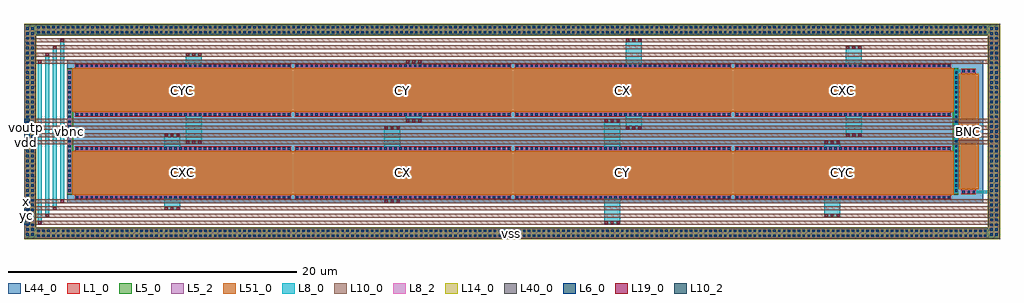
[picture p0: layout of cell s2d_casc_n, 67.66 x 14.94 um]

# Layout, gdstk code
from math import pi, radians
import gdstk
lib = gdstk.Library(unit=1e-6, precision=1e-09)
def R(c, l, rs):  # rectangles x0, y0, x1, y1
    for r in rs: c.add(gdstk.rectangle(r[:2], r[2:], *l))
def A(c, l, x, y, w, h, nx, ny, dx, dy):  # array of equal rectangles
    R(c, l, [(x+i*dx, y+j*dy, x+i*dx+w, y+j*dy+h) for i in range(nx) for j in range(ny)])
L1_0 = (1, 0)
L5_0 = (5, 0)
L5_2 = (5, 2)
L6_0 = (6, 0)
L8_0 = (8, 0)
L8_2 = (8, 2)
L10_0 = (10, 0)
L10_2 = (10, 2)
L14_0 = (14, 0)
L19_0 = (19, 0)
L40_0 = (40, 0)
L44_0 = (44, 0)
L51_0 = (51, 0)

nmoshv_1 = lib.new_cell('nmosHV$1')
R(nmoshv_1, L1_0, [(0,0,0.3,0.3), (0,0,3.68,15), (3.38,0,3.68,0.3)])
R(nmoshv_1, L5_0, [(0.34,-0.18,3.34,15.18)])
R(nmoshv_1, L5_2, [(0.34,-0.18,3.34,15.18)])
A(nmoshv_1, L6_0, 0.07, 0.07, 0.16, 0.16, 1, 3, 0, 0.34)
A(nmoshv_1, L6_0, 3.45, 0.07, 0.16, 0.16, 1, 3, 0, 0.34)
A(nmoshv_1, L6_0, 0.07, 1.095, 0.16, 0.16, 1, 3, 0, 0.34)
A(nmoshv_1, L6_0, 3.45, 1.095, 0.16, 0.16, 1, 3, 0, 0.34)
A(nmoshv_1, L6_0, 0.07, 2.12, 0.16, 0.16, 1, 3, 0, 0.34)
A(nmoshv_1, L6_0, 3.45, 2.12, 0.16, 0.16, 1, 3, 0, 0.34)
A(nmoshv_1, L6_0, 0.07, 3.83, 0.16, 0.16, 1, 3, 0, 0.34)
A(nmoshv_1, L6_0, 3.45, 3.83, 0.16, 0.16, 1, 3, 0, 0.34)
A(nmoshv_1, L6_0, 0.07, 4.855, 0.16, 0.16, 1, 3, 0, 0.34)
A(nmoshv_1, L6_0, 3.45, 4.855, 0.16, 0.16, 1, 3, 0, 0.34)
A(nmoshv_1, L6_0, 0.07, 6.565, 0.16, 0.16, 1, 3, 0, 0.34)
A(nmoshv_1, L6_0, 3.45, 6.565, 0.16, 0.16, 1, 3, 0, 0.34)
A(nmoshv_1, L6_0, 0.07, 7.59, 0.16, 0.16, 1, 3, 0, 0.34)
A(nmoshv_1, L6_0, 3.45, 7.59, 0.16, 0.16, 1, 3, 0, 0.34)
A(nmoshv_1, L6_0, 0.07, 9.3, 0.16, 0.16, 1, 3, 0, 0.34)
A(nmoshv_1, L6_0, 3.45, 9.3, 0.16, 0.16, 1, 3, 0, 0.34)
A(nmoshv_1, L6_0, 0.07, 10.325, 0.16, 0.16, 1, 3, 0, 0.34)
A(nmoshv_1, L6_0, 3.45, 10.325, 0.16, 0.16, 1, 3, 0, 0.34)
A(nmoshv_1, L6_0, 0.07, 12.035, 0.16, 0.16, 1, 3, 0, 0.34)
A(nmoshv_1, L6_0, 3.45, 12.035, 0.16, 0.16, 1, 3, 0, 0.34)
A(nmoshv_1, L6_0, 0.07, 13.06, 0.16, 0.16, 1, 3, 0, 0.34)
A(nmoshv_1, L6_0, 3.45, 13.06, 0.16, 0.16, 1, 3, 0, 0.34)
R(nmoshv_1, L6_0, [(0.07,3.145,0.23,3.305), (3.45,3.145,3.61,3.305), (0.07,3.485,0.23,3.645), (3.45,3.485,3.61,3.645), (0.07,5.88,0.23,6.04), (3.45,5.88,3.61,6.04), (0.07,6.22,0.23,6.38), (3.45,6.22,3.61,6.38), (0.07,8.615,0.23,8.775), (3.45,8.615,3.61,8.775), (0.07,8.955,0.23,9.115), (3.45,8.955,3.61,9.115), (0.07,11.35,0.23,11.51), (3.45,11.35,3.61,11.51), (0.07,11.69,0.23,11.85), (3.45,11.69,3.61,11.85), (0.07,14.085,0.23,14.245), (3.45,14.085,3.61,14.245), (0.07,14.425,0.23,14.585), (3.45,14.425,3.61,14.585), (0.07,14.77,0.23,14.93), (3.45,14.77,3.61,14.93)])
R(nmoshv_1, L8_0, [(0.07,0,0.23,15), (3.45,0,3.61,15)])
R(nmoshv_1, L8_2, [(0.07,0,0.23,15), (3.45,0,3.61,15)])
R(nmoshv_1, L44_0, [(-0.27,-0.52,3.95,15.52)])
R(nmoshv_1, L51_0, [(0.34,-0.18,3.34,15.18)])
nmoshv_1.add(gdstk.Label('nmosHV', (1.84,7.5), layer=63, texttype=0))
nmoshv_1.add(gdstk.Label('nmosHV', (1.84,7.5), layer=51, texttype=0))

nmoshv_2 = lib.new_cell('nmosHV$2')
R(nmoshv_2, L1_0, [(0,0,0.3,0.3), (0,0,8.68,1), (8.38,0,8.68,0.3)])
R(nmoshv_2, L5_0, [(0.34,-0.18,8.34,1.18)])
R(nmoshv_2, L5_2, [(0.34,-0.18,8.34,1.18)])
A(nmoshv_2, L6_0, 0.07, 0.07, 0.16, 0.16, 1, 3, 0, 0.35)
A(nmoshv_2, L6_0, 8.45, 0.07, 0.16, 0.16, 1, 3, 0, 0.35)
R(nmoshv_2, L8_0, [(0.07,0,0.23,1), (8.45,0,8.61,1)])
R(nmoshv_2, L8_2, [(0.07,0,0.23,1), (8.45,0,8.61,1)])
R(nmoshv_2, L44_0, [(-0.27,-0.52,8.95,1.52)])
R(nmoshv_2, L51_0, [(0.34,-0.18,8.34,1.18)])
nmoshv_2.add(gdstk.Label('nmosHV', (4.34,0.5), layer=63, texttype=0))
nmoshv_2.add(gdstk.Label('nmosHV', (4.34,0.5), layer=51, texttype=0))

ptap1 = lib.new_cell('ptap1')
R(ptap1, L1_0, [(0,0,0.78,14.88)])
A(ptap1, L6_0, 0.14, 0.22, 0.16, 0.16, 1, 43, 0, 0.34)
A(ptap1, L6_0, 0.48, 0.22, 0.16, 0.16, 1, 43, 0, 0.34)
R(ptap1, L8_0, [(0.14,0.17,0.64,14.71), (0.14,0.22,0.64,14.66)])
R(ptap1, L8_2, [(0.14,0.22,0.64,14.66)])
R(ptap1, L14_0, [(-0.03,-0.03,0.81,14.91)])
R(ptap1, L40_0, [(0,0,0.78,14.88)])
ptap1.add(gdstk.Label('sub!', (0.39,0.01), layer=63, texttype=0))
ptap1.add(gdstk.Label('sub!', (0.39,0.01), layer=40, texttype=0))

ptap1_1 = lib.new_cell('ptap1$1')
R(ptap1_1, L1_0, [(0,0,66.035,0.78)])
A(ptap1_1, L6_0, 0.125, 0.14, 0.16, 0.16, 194, 2, 0.34, 0.34)
R(ptap1_1, L8_0, [(0.125,0.09,65.905,0.69), (0.125,0.14,65.905,0.64)])
R(ptap1_1, L8_2, [(0.125,0.14,65.905,0.64)])
R(ptap1_1, L14_0, [(-0.03,-0.03,66.065,0.81)])
R(ptap1_1, L40_0, [(0,0,66.035,0.78)])
ptap1_1.add(gdstk.Label('sub!', (33.017,0.01), layer=63, texttype=0))
ptap1_1.add(gdstk.Label('sub!', (33.017,0.01), layer=40, texttype=0))

s2d_casc_n = lib.new_cell('s2d_casc_n')
R(s2d_casc_n, L5_0, [(-0.51,0.34,-0.1,9.08), (60.85,0.34,61.26,9.08), (61.15,0.71,61.37,8.71)])
A(s2d_casc_n, L6_0, -0.44, 0.55, 0.16, 0.16, 1, 25, 0, 0.34)
A(s2d_casc_n, L6_0, 61.03, 0.55, 0.16, 0.16, 1, 25, 0, 0.34)
R(s2d_casc_n, L8_0, [(-3.345,-2.64,63.97,-2.56), (-2.945,-2.64,-2.48,-2.04), (63.1,-2.64,63.57,-2.04), (-2.57,-1.765,-2.28,9.685), (36.695,-1.725,37.805,0.23), (-2.05,-1.265,-1.76,10.185), (51.945,-1.225,53.055,0.23), (-1.53,-0.765,-1.24,10.685), (6.195,-0.725,7.305,0.23), (-1.01,-0.265,-0.72,11.185), (21.445,-0.225,22.555,0.23), (62.37,0.44,63.57,0.6), (-0.49,0.48,-0.23,8.94), (60.98,0.48,61.24,8.98), (6.195,3.45,7.305,4.565), (21.445,3.45,22.555,5.065), (36.695,3.45,37.805,5.565), (51.945,3.45,53.055,4.065), (7.695,3.855,8.805,5.97), (53.445,4.355,54.555,5.97), (38.195,4.855,39.305,5.97), (22.945,5.355,24.055,5.97), (60.98,8.82,61.57,8.98), (7.695,9.19,8.805,10.145), (22.945,9.19,24.055,9.645), (38.195,9.19,39.305,11.145), (53.445,9.19,54.555,10.645), (-2.945,11.46,-2.48,12.06), (63.1,11.46,63.57,12.06), (-3.345,11.98,63.97,12.06)])
R(s2d_casc_n, L8_2, [(-2.58,-2.64,63.2,-2.04), (-0.49,0.48,-0.23,8.94)])
A(s2d_casc_n, L10_2, -3.515, -1.765, 0.4, 0.29, 1, 4, 0, 0.5)
A(s2d_casc_n, L10_2, -3.515, 3.815, 0.4, 0.29, 1, 4, 0, 0.5)
A(s2d_casc_n, L19_0, 36.745, -1.715, 0.19, 0.19, 3, 2, 0.41, 7.08)
A(s2d_casc_n, L19_0, 51.995, -1.215, 0.19, 0.19, 3, 2, 0.41, 5.08)
A(s2d_casc_n, L19_0, 6.245, -0.715, 0.19, 0.19, 3, 2, 0.41, 5.08)
A(s2d_casc_n, L19_0, 21.495, -0.215, 0.19, 0.19, 3, 2, 0.41, 5.08)
A(s2d_casc_n, L19_0, 7.745, 3.865, 0.19, 0.19, 3, 2, 0.41, 6.08)
A(s2d_casc_n, L19_0, 53.495, 4.365, 0.19, 0.19, 3, 2, 0.41, 6.08)
A(s2d_casc_n, L19_0, 38.245, 4.865, 0.19, 0.19, 3, 2, 0.41, 6.08)
A(s2d_casc_n, L19_0, 22.995, 5.365, 0.19, 0.19, 3, 2, 0.41, 4.08)
R(s2d_casc_n, L19_0, [(-2.52,-1.715,-2.33,-1.525), (-2,-1.215,-1.81,-1.025), (-1.48,-0.715,-1.29,-0.525), (-0.96,-0.215,-0.77,-0.025), (-2.52,9.445,-2.33,9.635), (-2,9.945,-1.81,10.135), (-1.48,10.445,-1.29,10.635), (-0.96,10.945,-0.77,11.135)])
R(s2d_casc_n, L44_0, [(-0.52,-0.27,62.99,9.69)])
s2d_casc_n.add(gdstk.FlexPath([(-3.37,-0.12),(63.995,-0.12)], 0.29, ends="extended", simple_path=True, layer=10, datatype=0))  # L10_0
s2d_casc_n.add(gdstk.FlexPath([(-3.37,-0.62),(63.995,-0.62)], 0.29, ends="extended", simple_path=True, layer=10, datatype=0))  # L10_0
s2d_casc_n.add(gdstk.FlexPath([(-3.37,-1.12),(63.995,-1.12)], 0.29, ends="extended", simple_path=True, layer=10, datatype=0))  # L10_0
s2d_casc_n.add(gdstk.FlexPath([(-3.37,-1.62),(63.995,-1.62)], 0.29, ends="extended", simple_path=True, layer=10, datatype=0))  # L10_0
s2d_casc_n.add(gdstk.FlexPath([(-3.37,3.96),(63.995,3.96)], 0.29, ends="extended", simple_path=True, layer=10, datatype=0))  # L10_0
s2d_casc_n.add(gdstk.FlexPath([(-3.37,4.46),(63.995,4.46)], 0.29, ends="extended", simple_path=True, layer=10, datatype=0))  # L10_0
s2d_casc_n.add(gdstk.FlexPath([(-3.37,4.96),(63.995,4.96)], 0.29, ends="extended", simple_path=True, layer=10, datatype=0))  # L10_0
s2d_casc_n.add(gdstk.FlexPath([(-3.37,5.46),(63.995,5.46)], 0.29, ends="extended", simple_path=True, layer=10, datatype=0))  # L10_0
s2d_casc_n.add(gdstk.FlexPath([(-3.37,11.04),(63.995,11.04)], 0.29, ends="extended", simple_path=True, layer=10, datatype=0))  # L10_0
s2d_casc_n.add(gdstk.FlexPath([(-3.37,10.54),(63.995,10.54)], 0.29, ends="extended", simple_path=True, layer=10, datatype=0))  # L10_0
s2d_casc_n.add(gdstk.FlexPath([(-3.37,10.04),(63.995,10.04)], 0.29, ends="extended", simple_path=True, layer=10, datatype=0))  # L10_0
s2d_casc_n.add(gdstk.FlexPath([(-3.37,9.54),(63.995,9.54)], 0.29, ends="extended", simple_path=True, layer=10, datatype=0))  # L10_0
r = gdstk.Reference(nmoshv_1, (0,0), rotation=pi/2, x_reflection=True); r.repetition = gdstk.Repetition(2, 4, v1=(0,5.74), v2=(15.25,0)); s2d_casc_n.add(r)
s2d_casc_n.add(gdstk.Reference(nmoshv_2, (61.47,0.37), rotation=pi/2, x_reflection=True))
s2d_casc_n.add(gdstk.Reference(ptap1, (-3.485,-2.73)))
s2d_casc_n.add(gdstk.Reference(ptap1, (63.33,-2.73)))
s2d_casc_n.add(gdstk.Reference(ptap1_1, (-2.705,11.37)))
s2d_casc_n.add(gdstk.Reference(ptap1_1, (-2.705,-2.73)))
s2d_casc_n.add(gdstk.Label('CXC', (7.5,1.84), layer=63, texttype=0))
s2d_casc_n.add(gdstk.Label('CXC', (53.25,7.58), layer=63, texttype=0))
s2d_casc_n.add(gdstk.Label('CX', (22.75,1.84), layer=63, texttype=0))
s2d_casc_n.add(gdstk.Label('CX', (38,7.58), layer=63, texttype=0))
s2d_casc_n.add(gdstk.Label('CY', (38,1.84), layer=63, texttype=0))
s2d_casc_n.add(gdstk.Label('CY', (22.75,7.58), layer=63, texttype=0))
s2d_casc_n.add(gdstk.Label('CYC', (53.25,1.84), layer=63, texttype=0))
s2d_casc_n.add(gdstk.Label('CYC', (7.5,7.58), layer=63, texttype=0))
s2d_casc_n.add(gdstk.Label('BNC', (61.97,4.71), layer=63, texttype=0))
s2d_casc_n.add(gdstk.Label('vbnc', (-0.36,4.71), layer=8, texttype=25))
s2d_casc_n.add(gdstk.Label('vss', (30.31,-2.34), layer=8, texttype=25))
s2d_casc_n.add(gdstk.Label('x', (-3.315,-0.12), layer=10, texttype=25))
s2d_casc_n.add(gdstk.Label('xc', (-3.315,-0.62), layer=10, texttype=25))
s2d_casc_n.add(gdstk.Label('yc', (-3.315,-1.12), layer=10, texttype=25))
s2d_casc_n.add(gdstk.Label('y', (-3.315,-1.62), layer=10, texttype=25))
s2d_casc_n.add(gdstk.Label('vdd', (-3.315,3.96), layer=10, texttype=25))
s2d_casc_n.add(gdstk.Label('vcmfb', (-3.315,4.46), layer=10, texttype=25))
s2d_casc_n.add(gdstk.Label('voutp', (-3.315,4.96), layer=10, texttype=25))
s2d_casc_n.add(gdstk.Label('voutn', (-3.315,5.46), layer=10, texttype=25))

lib.write_gds('s2d_casc_n.gds')
